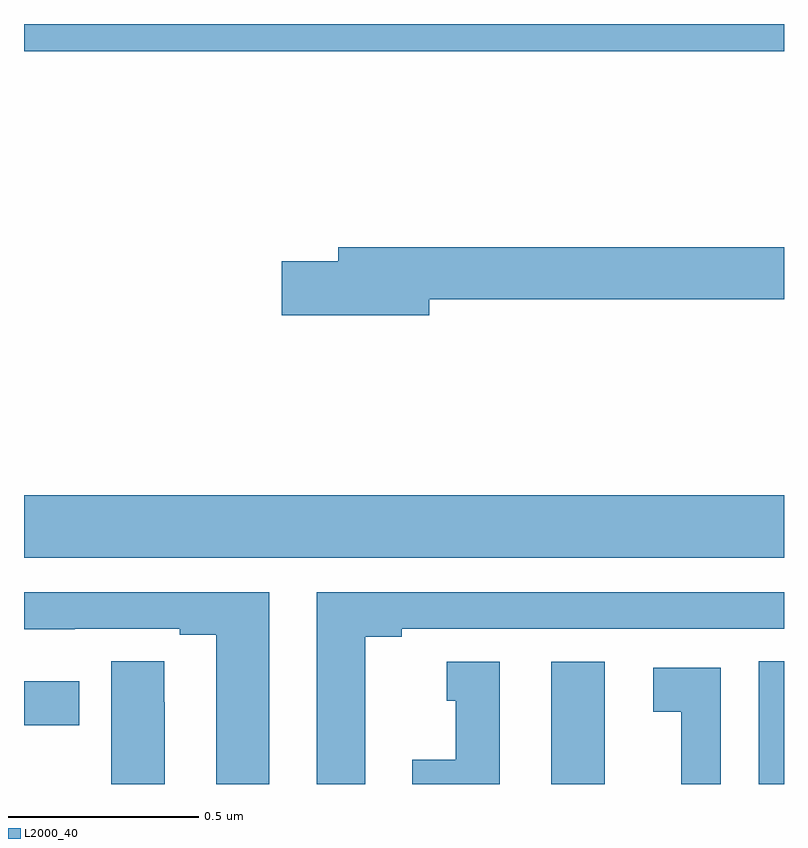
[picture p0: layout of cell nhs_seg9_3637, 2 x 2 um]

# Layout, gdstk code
import gdstk
lib = gdstk.Library(unit=1e-6, precision=1e-09)
def R(c, l, rs):  # rectangles x0, y0, x1, y1
    for r in rs: c.add(gdstk.rectangle(r[:2], r[2:], *l))
def P(c, l, *ps):  # polygons
    for p in ps: c.add(gdstk.Polygon(p, *l))
L2000_40 = (2000, 40)

nhs_seg9_3637 = lib.new_cell('nhs_seg9_3637')
R(nhs_seg9_3637, L2000_40, [(157.388,1186.5,157.528,1186.822), (157.934,1186.5,158,1186.823), (156,1186.654,156.145,1186.77), (156,1187.096,158,1187.26), (156,1188.428,158,1188.5)])
P(nhs_seg9_3637, L2000_40, [(157.066,1187.776),(158,1187.776),(158,1187.912),(156.827,1187.912),(156.827,1187.876),(156.678,1187.876),(156.678,1187.734),(157.066,1187.734)],
  [(156.646,1187.004),(156,1187.004),(156,1186.907),(156.134,1186.907),(156.134,1186.908),(156.41,1186.908),(156.41,1186.893),(156.506,1186.893),(156.506,1186.5),(156.646,1186.5)],
  [(156.898,1186.888),(156.994,1186.888),(156.994,1186.908),(158,1186.908),(158,1187.004),(156.77,1187.004),(156.77,1186.5),(156.898,1186.5)],
  [(156.37,1186.715),(156.369,1186.715),(156.369,1186.823),(156.23,1186.823),(156.23,1186.5),(156.37,1186.5)],
  [(157.252,1186.822),(157.112,1186.822),(157.112,1186.719),(157.136,1186.719),(157.136,1186.564),(157.022,1186.564),(157.022,1186.5),(157.252,1186.5)],
  [(157.834,1186.806),(157.656,1186.806),(157.656,1186.69),(157.73,1186.69),(157.73,1186.5),(157.834,1186.5)])

lib.write_gds('nhs_seg9_3637.gds')
